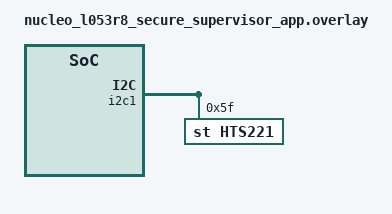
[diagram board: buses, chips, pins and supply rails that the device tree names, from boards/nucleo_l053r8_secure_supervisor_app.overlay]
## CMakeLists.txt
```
cmake_minimum_required(VERSION 3.20.0)

if (BOARD STREQUAL "nucleo_l053r8")
  set(DTC_OVERLAY_FILE
      ${CMAKE_CURRENT_SOURCE_DIR}/boards/nucleo_l053r8_secure_supervisor.overlay
      ${CMAKE_CURRENT_SOURCE_DIR}/boards/nucleo_l053r8_secure_supervisor_app.overlay)
endif()

find_package(Zephyr REQUIRED HINTS $ENV{ZEPHYR_BASE})
project(zephyr_secure_supervisor)

# Add app sources explicitly
target_sources(app PRIVATE
  src/simple_aes.c
  $<$<BOOL:${CONFIG_APP_CRYPTO_BACKEND_CURVE25519}>:${CMAKE_CURRENT_SOURCE_DIR}/src/curve25519_ref10.c>
  src/app_crypto.c
  src/main.c
  src/sensor_hts221.c
  src/supervisor.c
  src/recovery.c
  src/persist_state.c
  src/uart_commands.c
  src/watchdog_ctrl.c
)

# Allow #include "supervisor.h" etc without full path (autocomplete)
target_include_directories(app PRIVATE ${CMAKE_CURRENT_SOURCE_DIR}/src)
zephyr_library_include_directories(${CMAKE_CURRENT_SOURCE_DIR})
```

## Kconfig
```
menu "zephyr-secure-supervisor Kconfig application"

config APP_WATCHDOG_BOOT_TIMEOUT_MS
	int "Boot watchdog timeout (ms)"
	default 8000
	range 100 60000
	help
	  Initial watchdog timeout applied during system startup. Use a large
	  value to cover expensive init sequences.

config APP_WATCHDOG_STEADY_TIMEOUT_MS
	int "Steady-state watchdog timeout (ms)"
	default 2000
	range 100 60000
	help
	  Watchdog timeout that the supervisor applies once the system has
	  reached its steady state.

config APP_WATCHDOG_RETUNE_DELAY_MS
	int "Delay before watchdog retune (ms)"
	default 5000
	range 0 60000
	help
	  Duration after boot before the watchdog is tightened to the
	  steady-state timeout.

config APP_RESET_WATCHDOG_THRESHOLD
	int "Watchdog reset storm threshold"
	default 3
	range 1 20
	help
	  Number of consecutive watchdog resets that triggers fallback mode.

config APP_HEALTH_LED_STALE_MS
	int "Visual heartbeat stale threshold (ms)"
	default 1500
	range 100 10000
	help
	  Maximum allowed age of the visible heartbeat thread before it is
	  considered stale.

config APP_HEALTH_SYS_STALE_MS
	int "System heartbeat stale threshold (ms)"
	default 1500
	range 100 10000
	help
	  Maximum allowed age of the system heartbeat before it is
	  considered stale.

config APP_ENABLE_UART_COMMANDS
	bool "Enable UART command handler"
	default y
	help
	  Enable a minimal UART command parser for runtime configuration of
	  watchdog parameters. Disable if RAM usage is too tight.

config APP_PROVISION_GDB_HELPERS
	bool "Enable GDB provisioning helpers"
	default y if APP_PROVISION_BUILD
	help
	  Keeps tiny global buffers in the image so external tools (for example,
	  scripted GDB sessions) can copy Curve25519 material into RAM and call
	  the persistence helpers directly. Disable this outside provisioning
	  builds to squeeze out a handful of bytes of SRAM/flash.

config APP_PROVISION_BUILD
	bool "Provisioning build (UART CLI focus)"
	default n
	help
	  Select this when building a temporary provisioning image. The build
	  trims non-essential workloads (sensor thread, heartbeat cadence) and upsizes
	  the UART command stack so the Curve25519 provisioning command can run
	  safely within 8 KB SRAM. Keep this set to 'n' for production images.

config APP_SAFE_MODE_REBOOT_DELAY_MS
	int "Safe-mode auto reboot delay (ms)"
	default 60000
	range 0 300000
	help
	  When fallback (safe) mode is entered, schedule an automatic warm
	  reboot after this many milliseconds. Set to 0 to keep the system in
	  safe mode indefinitely.

config APP_SENSOR_THREAD_STACK_SIZE
	int "HTS221 sensor thread stack size (bytes)"
	default 704
	range 256 4096
	help
	  Stack allocation used by the dedicated HTS221 polling thread.

config APP_SUPERVISOR_THREAD_STACK_SIZE
	int "Supervisor thread stack size (bytes)"
	default 672
	range 256 4096
	help
	  Controls the stack budget for the watchdog supervisor.

config APP_RECOVERY_THREAD_STACK_SIZE
	int "Recovery thread stack size (bytes)"
	default 512
	range 256 4096
	help
	  Stack allocated for the recovery worker thread that handles safe-mode
	  reboot scheduling.

config APP_SENSOR_SAMPLE_INTERVAL_MS
	int "HTS221 sample interval (ms)"
	default 2000
	range 100 60000
	help
	  How often the HTS221 sensor thread fetches temperature/humidity
	  data while the system is in the normal operating mode.

config APP_SENSOR_SAFE_MODE_INTERVAL_MS
	int "HTS221 sample interval while in safe mode (ms)"
	default 5000
	range 100 120000
	help
	  When fallback/safe mode is active, the sensor thread switches to
	  this slower interval to reduce load while still providing
	  telemetry. Set to the same value as the normal interval to keep a
	  constant cadence.

choice APP_CRYPTO_BACKEND
	prompt "Application crypto backend"
	default APP_CRYPTO_BACKEND_AES
	help
	  Select the asymmetric/symmetric helper that app_crypto.c should use.
	  AES-CTR remains the default, while Curve25519 is an experimental
	  placeholder that makes the code paths compile without shipping the
	  implementation yet.

config APP_CRYPTO_BACKEND_AES
	bool "AES-CTR helper"

config APP_CRYPTO_BACKEND_CURVE25519
	bool "Curve25519 (experimental, stub only)"

endchoice

config APP_USE_AES_ENCRYPTION
	bool "Enable AES encryption helper"
	default y
	help
	  Enables the application-level AES helper that seals telemetry and
	  persistent state before it is logged or transmitted. The Curve25519
	  backend reuses this helper after deriving the session key.

config APP_USE_CURVE25519
	bool "Enable Curve25519 helper (placeholder)"
	default y
	depends on APP_CRYPTO_BACKEND_CURVE25519
	help
	  Builds the Curve25519/X25519 app crypto shim. Provide static secret +
	  peer public keys via the configs below or wire a persistence flow.

config APP_CURVE25519_STATIC_SECRET_HEX
	string "Curve25519 private scalar (hex)"
	default "77076D0A7318A57D3C16C17251B26645DF4C2F87EBC0992AB177FBA51DB92C2A"
	depends on APP_USE_CURVE25519
	help
	  32-byte private scalar encoded as 64 hex characters. On first boot the
	  firmware copies this value into NVS, clamps it per RFC 7748, and uses it
	  to derive the shared secret. If left empty, a scalar is derived from the
	  hardware device ID. Provision tooling should overwrite this with
	  per-device values.

config APP_CURVE25519_STATIC_PEER_PUB_HEX
	string "Curve25519 peer public key (hex)"
	default "DE9EDB7D7B7DC1B4D35B61C2ECE435373F8343C85B78674DADFC7E146F882B4F"
	depends on APP_USE_CURVE25519
	help
	  32-byte peer public key encoded as 64 hex characters. The shared secret
	  derived from this key seeds the AES helper.

config APP_AES_STATIC_KEY_HEX
	string "Static AES key (hex)"
	default "00112233445566778899AABBCCDDEEFF00112233445566778899AABBCCDDEEFF"
	depends on APP_USE_AES_ENCRYPTION
	help
	  128/192/256-bit key encoded as a continuous hex string without
	  spaces. Replace this value in production with a key derived from a
	  secure provisioning flow.

config APP_AES_STATIC_IV_HEX
	string "IV seed (hex)"
	default "000102030405060708090A0B"
	depends on APP_USE_AES_ENCRYPTION
	help
	  96-bit initial IV that is mixed with a runtime counter when the RNG
	  is unavailable. Provide a 24-character hex string (12 bytes).

config APP_PROVISION_CMD_BUFFER
	int "Provisioning UART command buffer size"
	default 512
	depends on APP_ENABLE_UART_COMMANDS
	help
	  Size, in bytes, of the UART command line buffer during provisioning
	  builds. Increase this when sending large ASCII payloads (e.g., prov curve
	  commands) to avoid truncation.

config APP_PROVISION_CMD_STACK
	int "Provisioning UART command thread stack size"
	default 2048
	depends on APP_ENABLE_UART_COMMANDS
	help
	  Stack size, in bytes, for the UART command handler when provisioning
	  builds are enabled. Larger values help absorb complex parsing logic.

config APP_PROVISION_AUTO_PERSIST
	bool "Auto-persist Curve25519 keys on boot"
	default y
	depends on APP_PROVISION_BUILD && APP_CRYPTO_BACKEND_CURVE25519
	help
	  When enabled, the provisioning firmware decodes the build-time
	  CONFIG_APP_CURVE25519_STATIC_* hex strings and writes them into NVS
	  automatically on each boot. This provides a simple provisioning path
	  even when UART provisioning is unavailable.

endmenu

source "Kconfig.zephyr"
```

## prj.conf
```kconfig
# ==== Core stacks ====
# Previous stable main stack: CONFIG_MAIN_STACK_SIZE=1504
CONFIG_MAIN_STACK_SIZE=1536
# Previous stable ISR stack: CONFIG_ISR_STACK_SIZE=1024
CONFIG_ISR_STACK_SIZE=768
CONFIG_IDLE_STACK_SIZE=256

# ==== Storage / persistence ====
# Flash/NVS requires flash driver enabled explicitly on this part
CONFIG_FLASH=y
CONFIG_FLASH_PAGE_LAYOUT=y
CONFIG_FLASH_MAP=y
CONFIG_NVS=y

# ---- Console / Serial ----
# CONFIG_SYSTEM_WORKQUEUE_STACK_SIZE was 832/1280 in the stable build
CONFIG_CONSOLE=y
CONFIG_UART_CONSOLE=y
CONFIG_SERIAL=y
CONFIG_THREAD_NAME=y
# Restored workqueue stack to stable 1280 B after overflow
CONFIG_SYSTEM_WORKQUEUE_STACK_SIZE=1280
CONFIG_STACK_SENTINEL=y

# ---- Logging to UART (no printk routing) ----
CONFIG_LOG=y
CONFIG_LOG_BACKEND_UART=y
CONFIG_LOG_MODE_IMMEDIATE=y        # immediate = safest on tiny MCUs
CONFIG_LOG_DEFAULT_LEVEL=3

# Keep printk enabled if the board wants it, but don't route printk into LOG
CONFIG_LOG_PRINTK=n

# ---- Drivers ----
CONFIG_GPIO=y
CONFIG_HWINFO=y                    # for hwinfo_get_reset_cause()
CONFIG_I2C=y
CONFIG_I2C_STM32=y
CONFIG_SENSOR=y
CONFIG_HTS221=y

#our code will control wdg, not default setup
CONFIG_WDT_DISABLE_AT_BOOT=y
CONFIG_WATCHDOG=y

# ---- Fault dump (replace any FATAL_EXCEPTION_DUMP usage) ----
CONFIG_FAULT_DUMP=1              

# Enable reboot & system management
CONFIG_REBOOT=y

# Application tuning
CONFIG_APP_WATCHDOG_BOOT_TIMEOUT_MS=8000
CONFIG_APP_WATCHDOG_STEADY_TIMEOUT_MS=2000
CONFIG_APP_WATCHDOG_RETUNE_DELAY_MS=500
CONFIG_APP_RESET_WATCHDOG_THRESHOLD=3
CONFIG_APP_HEALTH_LED_STALE_MS=6500
CONFIG_APP_HEALTH_SYS_STALE_MS=6500
# Crypto backend selection (Curve25519 derives the AES session key)
# CONFIG_APP_CRYPTO_BACKEND_AES is not set
CONFIG_APP_CRYPTO_BACKEND_CURVE25519=y
CONFIG_APP_ENABLE_UART_COMMANDS=n
CONFIG_APP_SAFE_MODE_REBOOT_DELAY_MS=60000
# Previous stable sensor stack: CONFIG_APP_SENSOR_THREAD_STACK_SIZE=256
CONFIG_APP_SENSOR_THREAD_STACK_SIZE=256
# Previous stable supervisor stack: CONFIG_APP_SUPERVISOR_THREAD_STACK_SIZE=768
CONFIG_APP_SUPERVISOR_THREAD_STACK_SIZE=768
# Previous stable recovery stack: CONFIG_APP_RECOVERY_THREAD_STACK_SIZE=384
CONFIG_APP_RECOVERY_THREAD_STACK_SIZE=384
# AES helper stays enabled to seal telemetry with the derived curve key
CONFIG_APP_USE_AES_ENCRYPTION=y
CONFIG_APP_USE_CURVE25519=y
# Static Curve25519 material (replace in production)
CONFIG_APP_CURVE25519_STATIC_SECRET_HEX="77076D0A7318A57D3C16C17251B26645DF4C2F87EBC0992AB177FBA51DB92C2A"
CONFIG_APP_CURVE25519_STATIC_PEER_PUB_HEX="DE9EDB7D7B7DC1B4D35B61C2ECE435373F8343C85B78674DADFC7E146F882B4F"

# Thread configuration
CONFIG_THREAD_MONITOR=y
CONFIG_THREAD_STACK_INFO=y
# Analyzer disabled during curve prototype to reclaim ~768 B stack
# CONFIG_THREAD_ANALYZER is not set
# CONFIG_THREAD_ANALYZER_AUTO is not set

# Recovery + supervisor require event support
CONFIG_EVENTS=y
```

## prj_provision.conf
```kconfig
# Provisioning-only build overlay -----------------------------------------
#
# Goal: keep just enough functionality alive (watchdog + UART CLI) to push
# per-device Curve25519 material via the `prov curve …` command without
# blowing the 8 KB SRAM budget. Production builds must continue to use the
# default `prj.conf` without this overlay once provisioning is done.

# Tell the code that we're in provisioning mode (skip HTS221 thread, etc.)
CONFIG_APP_PROVISION_BUILD=y

# Enable the lightweight buffers that the GDB provisioning script pokes.
CONFIG_APP_PROVISION_GDB_HELPERS=y

# Force the UART CLI on – this thread drives the provisioning command.
CONFIG_APP_ENABLE_UART_COMMANDS=y

# Upsize the CLI stack / buffers and reclaim SRAM elsewhere.
CONFIG_MAIN_STACK_SIZE=1856
CONFIG_ISR_STACK_SIZE=640
CONFIG_IDLE_STACK_SIZE=192
CONFIG_SYSTEM_WORKQUEUE_STACK_SIZE=960
CONFIG_APP_SUPERVISOR_THREAD_STACK_SIZE=832
CONFIG_APP_RECOVERY_THREAD_STACK_SIZE=448
CONFIG_APP_PROVISION_CMD_BUFFER=768
CONFIG_APP_PROVISION_CMD_STACK=1408

# Thread metadata is nice in production, but we disable it here to save RAM.
CONFIG_THREAD_MONITOR=n

# Logging stays enabled (we need CLI feedback), keep info-level banners visible.
CONFIG_LOG_DEFAULT_LEVEL=3
CONFIG_APP_CURVE25519_STATIC_SECRET_HEX="f0ed94212d52773938064558aab7d53fcf56f1680399281f9996dc2b7cfe284f"
CONFIG_APP_CURVE25519_STATIC_PEER_PUB_HEX="3dbced551515fba03d03007dd069a7331187bd5ec83db25d4c70c8412a783dd3"
```

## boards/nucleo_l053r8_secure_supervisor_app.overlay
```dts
&code_partition {
	/delete-property/ zephyr,code-partition;
};

/ {
	chosen {
		zephyr,code-partition = &code_partition;
	};
};

&i2c1 {
	hts221: hts221@5f {
		compatible = "st,hts221";
		reg = <0x5f>;
		status = "okay";
	};
};
```

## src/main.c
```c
/* main.c - NUCLEO-L053R8: Watchdog + Supervisors */
#include <zephyr/drivers/hwinfo.h>
#include <zephyr/kernel.h>
#include <zephyr/logging/log.h>
#include <zephyr/sys/util.h>
#include <stdint.h>
#include <string.h>
#include <ctype.h>

#include "app_crypto.h"
#include "log_utils.h"
#include "persist_state.h"
#include "recovery.h"
#include "sensor_hts221.h"
#include "supervisor.h"
#include "uart_commands.h"
#include "watchdog_ctrl.h"

LOG_MODULE_REGISTER(app, LOG_LEVEL_INF);

#if IS_ENABLED(CONFIG_APP_PROVISION_AUTO_PERSIST)
static int hex_digit_value(char c)
{
	if (c >= '0' && c <= '9') {
		return c - '0';
	}
	if (c >= 'a' && c <= 'f') {
		return 10 + (c - 'a');
	}
	if (c >= 'A' && c <= 'F') {
		return 10 + (c - 'A');
	}
	return -1;
}

static int decode_hex_key(const char *hex, uint8_t out[CURVE25519_KEY_SIZE])
{
	if (hex == NULL) {
		return -EINVAL;
	}

	size_t len = strlen(hex);
	if (len != CURVE25519_KEY_SIZE * 2U) {
		return -EINVAL;
	}

	for (size_t i = 0U; i < CURVE25519_KEY_SIZE; i++) {
		char hi = hex[i * 2U];
		char lo = hex[i * 2U + 1U];
		int hi_val = hex_digit_value(hi);
		int lo_val = hex_digit_value(lo);
		if (hi_val < 0 || lo_val < 0) {
			return -EINVAL;
		}
		out[i] = (uint8_t)((hi_val << 4) | lo_val);
	}

	return 0;
}

static void autoload_curve_keys(void)
{
	uint8_t buf[CURVE25519_KEY_SIZE];
	bool secret_written = false;
	bool peer_written = false;

	if (CONFIG_APP_CURVE25519_STATIC_SECRET_HEX[0] != '\0' &&
	    decode_hex_key(CONFIG_APP_CURVE25519_STATIC_SECRET_HEX, buf) == 0) {
		if (persist_state_curve25519_set_secret(buf) == 0) {
			secret_written = true;
		}
	}

	if (CONFIG_APP_CURVE25519_STATIC_PEER_PUB_HEX[0] != '\0' &&
	    decode_hex_key(CONFIG_APP_CURVE25519_STATIC_PEER_PUB_HEX, buf) == 0) {
		if (persist_state_curve25519_set_peer(buf) == 0) {
			peer_written = true;
		}
	}

	LOG_INF("Provision auto-persist secret=%s peer=%s",
		secret_written ? "ok" : "skipped",
		peer_written ? "ok" : "skipped");
}
#endif

/* Optional reset cause printout */
static uint32_t log_reset_cause(void)
{
	uint32_t cause = 0;
	if (hwinfo_get_reset_cause(&cause) == 0) {
		if (cause & RESET_WATCHDOG) LOG_WRN("Reset cause: WATCHDOG");
		if (cause & RESET_SOFTWARE) LOG_WRN("Reset cause: SOFTWARE");
		if (cause & RESET_POR)      LOG_WRN("Reset cause: POWER-ON");
		hwinfo_clear_reset_cause();
	}
	return cause;
}

void main(void)
{
	k_thread_name_set(k_current_get(), "main");
	LOG_EVT_SIMPLE(INF, "APP", "START");

	int ret = app_crypto_init();
	if (ret) {
		LOG_ERR("AES helper init failed: %d", ret);
	}

	ret = persist_state_init();
	if (ret) {
		LOG_ERR("Persistent state init failed: %d", ret);
	}

#if IS_ENABLED(CONFIG_APP_PROVISION_AUTO_PERSIST)
	autoload_curve_keys();
#endif

	uint32_t reset_cause = log_reset_cause();
	bool watchdog_reset = (reset_cause & RESET_WATCHDOG) != 0U;
	persist_state_record_boot(watchdog_reset);

	uint32_t consecutive = persist_state_get_consecutive_watchdog();
	if (consecutive != 0U) {
		LOG_EVT(WRN, "WATCHDOG", "RESET_HISTORY",
			"consecutive=%u,total=%u", consecutive, persist_state_get_total_watchdog());
	}

	bool safe_mode_active = persist_state_is_fallback_active();
	if (safe_mode_active) {
		LOG_EVT_SIMPLE(ERR, "SAFE_MODE", "ENTERED");
		persist_state_clear_watchdog_counter();
		LOG_EVT_SIMPLE(INF, "WATCHDOG", "COUNTER_CLEARED");
	}

    if (!IS_ENABLED(CONFIG_APP_PROVISION_BUILD)) {
        recovery_start();
        recovery_schedule_safe_mode_reboot(
            safe_mode_active ? CONFIG_APP_SAFE_MODE_REBOOT_DELAY_MS : 0U);

        uint32_t boot_timeout_ms = CONFIG_APP_WATCHDOG_BOOT_TIMEOUT_MS;
        uint32_t steady_timeout_ms = persist_state_get_watchdog_override();
        if (steady_timeout_ms == 0U) {
            steady_timeout_ms = CONFIG_APP_WATCHDOG_STEADY_TIMEOUT_MS;
        }
        uint32_t retune_delay_ms = CONFIG_APP_WATCHDOG_RETUNE_DELAY_MS;

        if (safe_mode_active) {
            steady_timeout_ms = MAX(steady_timeout_ms, boot_timeout_ms);
            retune_delay_ms = 0U;
        }

        ret = watchdog_ctrl_init(boot_timeout_ms);
        if (ret) {
            LOG_EVT(ERR, "WATCHDOG", "INIT_FAIL", "rc=%d", ret);
            LOG_EVT_SIMPLE(ERR, "RECOVERY", "WATCHDOG_INIT_FAIL");
            recovery_request(RECOVERY_REASON_WATCHDOG_INIT_FAIL);
            return;
        }

        LOG_EVT(INF, "WATCHDOG", "CONFIGURED",
            "boot_ms=%u,steady_ms=%u,retune_delay_ms=%u", boot_timeout_ms,
            steady_timeout_ms, retune_delay_ms);
        if (safe_mode_active) {
            LOG_EVT_SIMPLE(WRN, "WATCHDOG", "RETUNE_DISABLED_SAFE_MODE");
        }

        supervisor_start(steady_timeout_ms, retune_delay_ms, true);
    } else {
        LOG_INF("Provisioning build: watchdog/supervisor disabled");
    }

#if !IS_ENABLED(CONFIG_APP_PROVISION_BUILD)
	ret = sensor_hts221_start(safe_mode_active);
	if (ret) {
		LOG_EVT(ERR, "SENSOR", "HTS221_INIT_FAIL", "rc=%d", ret);
	}
#else
	LOG_INF("Skipping HTS221 sensor thread while provisioning build is enabled");
#endif

	if (IS_ENABLED(CONFIG_APP_ENABLE_UART_COMMANDS)) {
		uart_commands_start(safe_mode_active);
	}

	/* small delay to let logging flush before threads settle */
	k_msleep(120);

	LOG_EVT_SIMPLE(INF, "APP", "READY");

}
```

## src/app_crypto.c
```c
#include "app_crypto.h"

#include <errno.h>
#include <inttypes.h>
#include <string.h>

#include <zephyr/kernel.h>
#include <zephyr/logging/log.h>
#include <zephyr/sys/atomic.h>
#include <zephyr/sys/crc.h>
#include <zephyr/sys/util.h>

#include "curve25519_ref10.h"
#include "log_utils.h"
#include "persist_state.h"
#include "simple_aes.h"
#include "safe_memory.h"

LOG_MODULE_REGISTER(app_crypto, LOG_LEVEL_INF);

#define APP_CRYPTO_MAX_KEY_BYTES 32U
#define APP_CRYPTO_MAX_HEX_CHARS (APP_CRYPTO_MAX_KEY_BYTES * 2U)

static uint8_t key_buf[APP_CRYPTO_MAX_KEY_BYTES];
static size_t key_len;
static uint8_t iv_seed[APP_CRYPTO_IV_LEN];
static bool crypto_ready;
static atomic_t iv_counter = ATOMIC_INIT(0);
static atomic_t prng_state = ATOMIC_INIT(0x6d5a56a1);
static struct simple_aes_ctx aes_ctx;
static uint8_t session_mac_key[16];
static uint32_t session_counter;
static uint32_t session_salt;

static enum app_crypto_backend_type active_backend = APP_CRYPTO_BACKEND_TYPE_NONE;

static int hex_value(char c)
{
	if (c >= '0' && c <= '9') {
		return c - '0';
	}
	if (c >= 'a' && c <= 'f') {
		return 10 + (c - 'a');
	}
	if (c >= 'A' && c <= 'F') {
		return 10 + (c - 'A');
	}
	return -1;
}

static int parse_hex_string(const char *hex, uint8_t *out, size_t max_len)
{
	size_t len = safe_strlen(hex, APP_CRYPTO_MAX_HEX_CHARS + 1U);

	if ((len % 2U) != 0U) {
		return -EINVAL;
	}

	size_t bytes = len / 2U;

	if (bytes == 0U || bytes > max_len) {
		return -EOVERFLOW;
	}

	for (size_t i = 0U; i < bytes; i++) {
		int hi = hex_value(hex[i * 2U]);
		int lo = hex_value(hex[i * 2U + 1U]);

		if (hi < 0 || lo < 0) {
			return -EINVAL;
		}

		out[i] = (uint8_t)((hi << 4) | lo);
	}

	return (int)bytes;
}

static uint32_t next_pseudo_entropy(void)
{
	uint32_t current;
	uint32_t next;

	do {
		current = (uint32_t)atomic_get(&prng_state);
		next = current * 1664525U + 1013904223U;
	} while (atomic_cas(&prng_state, current, next) == false);

	/* xorshift mix */
	next ^= next << 13;
	next ^= next >> 17;
	next ^= next << 5;

	return next;
}

static void generate_iv(uint8_t *iv_out)
{
	for (size_t offset = 0U; offset < APP_CRYPTO_IV_LEN; offset += sizeof(uint32_t)) {
		uint32_t rnd = next_pseudo_entropy();
		size_t chunk = sizeof(uint32_t);

		if (chunk > (APP_CRYPTO_IV_LEN - offset)) {
			chunk = APP_CRYPTO_IV_LEN - offset;
		}

			safe_memcpy(&iv_out[offset], APP_CRYPTO_IV_LEN - offset, &rnd, chunk);
	}

	for (size_t i = 0U; i < APP_CRYPTO_IV_LEN; i++) {
		iv_out[i] ^= iv_seed[i];
	}

	uint32_t ctr = (uint32_t)atomic_inc(&iv_counter);
	for (size_t i = 0U; i < sizeof(ctr); i++) {
		size_t idx = APP_CRYPTO_IV_LEN - 1U - i;
		iv_out[idx] ^= (uint8_t)((ctr >> (i * 8U)) & 0xFF);
	}
}

static void increment_counter(uint8_t *counter)
{
	for (int i = APP_CRYPTO_AES_BLOCK_BYTES - 1; i >= (int)APP_CRYPTO_IV_LEN; i--) {
		counter[i]++;
		if (counter[i] != 0U) {
			break;
		}
	}
}

static void ctr_process(const uint8_t *input, uint8_t *output, size_t len,
			const uint8_t iv[APP_CRYPTO_IV_LEN])
{
	uint8_t counter[APP_CRYPTO_AES_BLOCK_BYTES] = {0};
	uint8_t stream[APP_CRYPTO_AES_BLOCK_BYTES];

	safe_memcpy(counter, sizeof(counter), iv, APP_CRYPTO_IV_LEN);

	while (len > 0U) {
		simple_aes_encrypt_block(&aes_ctx, counter, stream);

		size_t chunk = MIN(len, (size_t)APP_CRYPTO_AES_BLOCK_BYTES);
		for (size_t i = 0U; i < chunk; i++) {
			output[i] = input[i] ^ stream[i];
		}

		input += chunk;
		output += chunk;
		len -= chunk;
		increment_counter(counter);
	}
}

static uint32_t fallback_session_salt(void)
{
	uint32_t seed = next_pseudo_entropy();
	if (seed == 0U) {
		seed = (uint32_t)k_cycle_get_32();
	}
	return seed;
}

static void derive_session_material(const uint8_t *shared, size_t shared_len)
{
	session_counter = persist_state_next_session_counter();
	session_salt = fallback_session_salt();

	for (size_t i = 0U; i < APP_CRYPTO_MAX_KEY_BYTES; i++) {
		uint8_t ctr = (uint8_t)((session_counter >> ((i % 4U) * 8U)) & 0xFFU);
		uint8_t saltb = (uint8_t)((session_salt >> (((i + 1U) % 4U) * 8U)) & 0xFFU);
		key_buf[i] = shared[i % shared_len] ^ ctr ^ saltb;
	}

	for (size_t i = 0U; i < sizeof(session_mac_key); i++) {
		uint8_t ctr = (uint8_t)((session_counter >> (((i + 2U) % 4U) * 8U)) & 0xFFU);
		uint8_t saltb = (uint8_t)((session_salt >> (((i + 3U) % 4U) * 8U)) & 0xFFU);
		session_mac_key[i] = shared[(i + 8U) % shared_len] ^ ctr ^ saltb;
	}

	LOG_EVT(INF, "PQC", "SESSION", "counter=%" PRIu32 ",salt=0x%08X",
		session_counter, session_salt);
}

bool app_crypto_is_enabled(void)
{
	return crypto_ready && (active_backend != APP_CRYPTO_BACKEND_TYPE_NONE);
}

enum app_crypto_backend_type app_crypto_get_backend(void)
{
	return active_backend;
}

uint32_t app_crypto_get_session_counter(void)
{
	return session_counter;
}

uint32_t app_crypto_get_session_salt(void)
{
	return session_salt;
}

int app_crypto_init(void)
{
	int rc = parse_hex_string(CONFIG_APP_AES_STATIC_IV_HEX,
				  iv_seed, sizeof(iv_seed));
	if (rc < 0 || (size_t)rc != APP_CRYPTO_IV_LEN) {
		LOG_ERR("Invalid IV seed (expected %u bytes)", APP_CRYPTO_IV_LEN);
		return rc < 0 ? rc : -EINVAL;
	}

#if IS_ENABLED(CONFIG_APP_CRYPTO_BACKEND_CURVE25519)
	active_backend = APP_CRYPTO_BACKEND_TYPE_CURVE25519;
	uint8_t secret[CURVE25519_KEY_SIZE];
	uint8_t peer_pub[CURVE25519_KEY_SIZE];
	uint8_t shared[CURVE25519_KEY_SIZE];

	rc = persist_state_curve25519_get_secret(secret);
	if (rc < 0) {
		LOG_ERR("Failed to load Curve25519 scalar: %d", rc);
		return rc;
	}
	curve25519_ref10_clamp_scalar(secret);

	int peer_rc = persist_state_curve25519_get_peer(peer_pub);
	if (peer_rc != 0) {
		rc = parse_hex_string(CONFIG_APP_CURVE25519_STATIC_PEER_PUB_HEX,
				      peer_pub, sizeof(peer_pub));
		if (rc < 0 || (size_t)rc != CURVE25519_KEY_SIZE) {
			LOG_ERR("Invalid Curve25519 peer public key");
			return rc < 0 ? rc : -EINVAL;
		}
	} else {
		LOG_INF("Curve25519 peer public key loaded from provisioning storage");
	}

	rc = curve25519_ref10_scalarmult(shared, secret, peer_pub);
	if (rc != 0) {
		LOG_ERR("Curve25519 shared-secret derivation failed: %d", rc);
		return rc;
	}

	key_len = CURVE25519_KEY_SIZE;
	derive_session_material(shared, CURVE25519_KEY_SIZE);

	uint8_t local_pub[CURVE25519_KEY_SIZE];
	curve25519_ref10_scalarmult_base(local_pub, secret);
	LOG_INF("Curve25519 key ready (local_pub=%02X%02X%02X%02X..., peer fixed)",
		local_pub[0], local_pub[1], local_pub[2], local_pub[3]);
	LOG_DBG("Curve25519 shared secret prefix=%02X%02X%02X%02X",
		shared[0], shared[1], shared[2], shared[3]);
	LOG_INF("Curve25519 backend active (shared secret drives AES keys)");

#elif IS_ENABLED(CONFIG_APP_USE_AES_ENCRYPTION)
	active_backend = APP_CRYPTO_BACKEND_TYPE_AES;
	rc = parse_hex_string(CONFIG_APP_AES_STATIC_KEY_HEX,
			      key_buf, sizeof(key_buf));
	if (rc < 0) {
		LOG_ERR("Invalid AES key hex string: %d", rc);
		return rc;
	}

	key_len = (size_t)rc;
	if (!(key_len == 16U || key_len == 24U || key_len == 32U)) {
		LOG_ERR("Unsupported AES key length: %zu", key_len);
		return -EINVAL;
	}
	session_counter = 0U;
	session_salt = 0U;
	memset(session_mac_key, 0, sizeof(session_mac_key));
	LOG_INF("AES-only backend active (static key from config)");
#else
	active_backend = APP_CRYPTO_BACKEND_TYPE_NONE;
	crypto_ready = false;
	LOG_INF("Application crypto disabled (no backend selected)");
	return 0;
#endif

	rc = simple_aes_setkey_enc(&aes_ctx, key_buf, key_len);
	if (rc != 0) {
		LOG_ERR("AES key setup failed");
		return -EINVAL;
	}

	crypto_ready = true;
	LOG_INF("AES helper initialized (key_len=%zu, backend=%s)", key_len,
		active_backend == APP_CRYPTO_BACKEND_TYPE_CURVE25519 ? "curve25519" : "aes");
	return 0;
}

int app_crypto_encrypt_buffer(const uint8_t *input, size_t input_len,
			      uint8_t *cipher_out, size_t cipher_capacity,
			      size_t *cipher_len, uint8_t iv_out[APP_CRYPTO_IV_LEN])
{
	if (!app_crypto_is_enabled()) {
		return -EACCES;
	}

	if (input_len == 0U) {
		return -EINVAL;
	}

	if (cipher_capacity < input_len) {
		return -ENOSPC;
	}

	uint8_t iv_tmp[APP_CRYPTO_IV_LEN];

	generate_iv(iv_tmp);

	ctr_process(input, cipher_out, input_len, iv_tmp);
	safe_memcpy(iv_out, APP_CRYPTO_IV_LEN, iv_tmp, APP_CRYPTO_IV_LEN);
	if (cipher_len != NULL) {
		*cipher_len = input_len;
	}

	return 0;
}

int app_crypto_decrypt_buffer(const uint8_t *cipher, size_t cipher_len,
			      const uint8_t iv[APP_CRYPTO_IV_LEN],
			      uint8_t *plain_out, size_t plain_capacity,
			      size_t *plain_len)
{
	if (!app_crypto_is_enabled()) {
		return -EACCES;
	}

	if (cipher_len == 0U) {
		return -EINVAL;
	}

	if (plain_capacity < cipher_len) {
		return -ENOSPC;
	}

	ctr_process(cipher, plain_out, cipher_len, iv);

	if (plain_len != NULL) {
		*plain_len = cipher_len;
	}

	return 0;
}

int app_crypto_bytes_to_hex(const uint8_t *src, size_t src_len,
			    char *dst, size_t dst_len)
{
	if (dst_len < (src_len * 2U + 1U)) {
		return -ENOSPC;
	}

	static const char hex_chars[] = "0123456789ABCDEF";

	for (size_t i = 0U; i < src_len; i++) {
		dst[i * 2U] = hex_chars[(src[i] >> 4) & 0xF];
		dst[i * 2U + 1U] = hex_chars[src[i] & 0xF];
	}

	dst[src_len * 2U] = '\0';
	return 0;
}

uint32_t app_crypto_compute_sample_mac(const uint8_t iv[APP_CRYPTO_IV_LEN],
				       const uint8_t *cipher, size_t cipher_len)
{
	if (active_backend != APP_CRYPTO_BACKEND_TYPE_CURVE25519 || !crypto_ready) {
		return 0U;
	}

	uint32_t crc = crc32_ieee(session_mac_key, sizeof(session_mac_key));
	crc = crc32_ieee_update(crc, iv, APP_CRYPTO_IV_LEN);
	crc = crc32_ieee_update(crc, cipher, cipher_len);
	crc = crc32_ieee_update(crc, (uint8_t *)&session_counter, sizeof(session_counter));
	crc ^= session_salt;
	return crc;
}
```

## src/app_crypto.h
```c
#ifndef APP_CRYPTO_H
#define APP_CRYPTO_H

#include <stdbool.h>
#include <stddef.h>
#include <stdint.h>

#define APP_CRYPTO_CTR_LEN_BITS 32U
#define APP_CRYPTO_AES_BLOCK_BYTES 16U
#define APP_CRYPTO_IV_LEN (APP_CRYPTO_AES_BLOCK_BYTES - (APP_CRYPTO_CTR_LEN_BITS / 8U))

enum app_crypto_backend_type {
	APP_CRYPTO_BACKEND_TYPE_NONE = 0,
	APP_CRYPTO_BACKEND_TYPE_AES,
	APP_CRYPTO_BACKEND_TYPE_CURVE25519,
};

int app_crypto_init(void);
bool app_crypto_is_enabled(void);
enum app_crypto_backend_type app_crypto_get_backend(void);
uint32_t app_crypto_get_session_counter(void);
uint32_t app_crypto_get_session_salt(void);

int app_crypto_encrypt_buffer(const uint8_t *input, size_t input_len,
			      uint8_t *cipher_out, size_t cipher_capacity,
			      size_t *cipher_len, uint8_t iv_out[APP_CRYPTO_IV_LEN]);

int app_crypto_decrypt_buffer(const uint8_t *cipher, size_t cipher_len,
			      const uint8_t iv[APP_CRYPTO_IV_LEN],
			      uint8_t *plain_out, size_t plain_capacity,
			      size_t *plain_len);

int app_crypto_bytes_to_hex(const uint8_t *src, size_t src_len,
			    char *dst, size_t dst_len);

uint32_t app_crypto_compute_sample_mac(const uint8_t iv[APP_CRYPTO_IV_LEN],
				       const uint8_t *cipher, size_t cipher_len);

#endif /* APP_CRYPTO_H */
```

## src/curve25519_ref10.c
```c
#include "curve25519_ref10.h"

/*
 * Derived from the public-domain curve25519-donna / TweetNaCl reference
 * implementation (D. J. Bernstein, Adam Langley, et al.). Only the small
 * subset required for X25519 scalar multiplication is kept here so the
 * firmware can run without an external crypto library.
 */

#include <string.h>

/* Field operations follow the same layout as the ref10 implementation. */
typedef int32_t fe[10];

static void fe_0(fe h)
{
	memset(h, 0, sizeof(fe));
}

static void fe_1(fe h)
{
	fe_0(h);
	h[0] = 1;
}

static void fe_copy(fe h, const fe f)
{
	for (int i = 0; i < 10; i++) {
		h[i] = f[i];
	}
}

static void fe_add(fe h, const fe f, const fe g)
{
	for (int i = 0; i < 10; i++) {
		h[i] = f[i] + g[i];
	}
}

static void fe_sub(fe h, const fe f, const fe g)
{
	for (int i = 0; i < 10; i++) {
		h[i] = f[i] - g[i];
	}
}

static void fe_mul(fe h, const fe f, const fe g);
static void fe_sq(fe h, const fe f)
{
	fe_mul(h, f, f);
}

static void fe_mul(fe h, const fe f, const fe g)
{
	int64_t f0 = f[0];
	int64_t f1 = f[1];
	int64_t f2 = f[2];
	int64_t f3 = f[3];
	int64_t f4 = f[4];
	int64_t f5 = f[5];
	int64_t f6 = f[6];
	int64_t f7 = f[7];
	int64_t f8 = f[8];
	int64_t f9 = f[9];

	int64_t g0 = g[0];
	int64_t g1 = g[1];
	int64_t g2 = g[2];
	int64_t g3 = g[3];
	int64_t g4 = g[4];
	int64_t g5 = g[5];
	int64_t g6 = g[6];
	int64_t g7 = g[7];
	int64_t g8 = g[8];
	int64_t g9 = g[9];

	int64_t g1_19 = 19 * g1;
	int64_t g2_19 = 19 * g2;
	int64_t g3_19 = 19 * g3;
	int64_t g4_19 = 19 * g4;
	int64_t g5_19 = 19 * g5;
	int64_t g6_19 = 19 * g6;
	int64_t g7_19 = 19 * g7;
	int64_t g8_19 = 19 * g8;
	int64_t g9_19 = 19 * g9;

	int64_t f1_2 = 2 * f1;
	int64_t f3_2 = 2 * f3;
	int64_t f5_2 = 2 * f5;
	int64_t f7_2 = 2 * f7;
	int64_t f9_2 = 2 * f9;

	int64_t h0 = f0 * g0 + f1_2 * g9_19 + f2 * g8_19 + f3_2 * g7_19 + f4 * g6_19 +
		     f5_2 * g5_19 + f6 * g4_19 + f7_2 * g3_19 + f8 * g2_19 + f9_2 * g1_19;
	int64_t h1 = f0 * g1 + f1 * g0 + f2 * g9_19 + f3 * g8_19 + f4 * g7_19 + f5 * g6_19 +
		     f6 * g5_19 + f7 * g4_19 + f8 * g3_19 + f9 * g2_19;
	int64_t h2 = f0 * g2 + f1_2 * g1 + f2 * g0 + f3_2 * g9_19 + f4 * g8_19 +
		     f5_2 * g7_19 + f6 * g6_19 + f7_2 * g5_19 + f8 * g4_19 + f9_2 * g3_19;
	int64_t h3 = f0 * g3 + f1 * g2 + f2 * g1 + f3 * g0 + f4 * g9_19 + f5 * g8_19 +
		     f6 * g7_19 + f7 * g6_19 + f8 * g5_19 + f9 * g4_19;
	int64_t h4 = f0 * g4 + f1_2 * g3 + f2 * g2 + f3_2 * g1 + f4 * g0 + f5_2 * g9_19 +
		     f6 * g8_19 + f7_2 * g7_19 + f8 * g6_19 + f9_2 * g5_19;
	int64_t h5 = f0 * g5 + f1 * g4 + f2 * g3 + f3 * g2 + f4 * g1 + f5 * g0 +
		     f6 * g9_19 + f7 * g8_19 + f8 * g7_19 + f9 * g6_19;
	int64_t h6 = f0 * g6 + f1_2 * g5 + f2 * g4 + f3_2 * g3 + f4 * g2 + f5_2 * g1 +
		     f6 * g0 + f7_2 * g9_19 + f8 * g8_19 + f9_2 * g7_19;
	int64_t h7 = f0 * g7 + f1 * g6 + f2 * g5 + f3 * g4 + f4 * g3 + f5 * g2 +
		     f6 * g1 + f7 * g0 + f8 * g9_19 + f9 * g8_19;
	int64_t h8 = f0 * g8 + f1_2 * g7 + f2 * g6 + f3_2 * g5 + f4 * g4 + f5_2 * g3 +
		     f6 * g2 + f7_2 * g1 + f8 * g0 + f9_2 * g9_19;
	int64_t h9 = f0 * g9 + f1 * g8 + f2 * g7 + f3 * g6 + f4 * g5 + f5 * g4 +
		     f6 * g3 + f7 * g2 + f8 * g1 + f9 * g0;

	int64_t carry0 = (h0 + (int64_t)(1 << 25)) >> 26;
	h1 += carry0;
	h0 -= carry0 << 26;
	int64_t carry4 = (h4 + (int64_t)(1 << 25)) >> 26;
	h5 += carry4;
	h4 -= carry4 << 26;
	int64_t carry1 = (h1 + (int64_t)(1 << 24)) >> 25;
	h2 += carry1;
	h1 -= carry1 << 25;
	int64_t carry5 = (h5 + (int64_t)(1 << 24)) >> 25;
	h6 += carry5;
	h5 -= carry5 << 25;
	int64_t carry2 = (h2 + (int64_t)(1 << 25)) >> 26;
	h3 += carry2;
	h2 -= carry2 << 26;
	int64_t carry6 = (h6 + (int64_t)(1 << 25)) >> 26;
	h7 += carry6;
	h6 -= carry6 << 26;
	int64_t carry3 = (h3 + (int64_t)(1 << 24)) >> 25;
	h4 += carry3;
	h3 -= carry3 << 25;
	int64_t carry7 = (h7 + (int64_t)(1 << 24)) >> 25;
	h8 += carry7;
	h7 -= carry7 << 25;
	carry4 = (h4 + (int64_t)(1 << 25)) >> 26;
	h5 += carry4;
	h4 -= carry4 << 26;
	int64_t carry8 = (h8 + (int64_t)(1 << 25)) >> 26;
	h9 += carry8;
	h8 -= carry8 << 26;
	int64_t carry9 = (h9 + (int64_t)(1 << 24)) >> 25;
	h0 += carry9 * 19;
	h9 -= carry9 << 25;
	carry0 = (h0 + (int64_t)(1 << 25)) >> 26;
	h1 += carry0;
	h0 -= carry0 << 26;

	h[0] = (int32_t)h0;
	h[1] = (int32_t)h1;
	h[2] = (int32_t)h2;
	h[3] = (int32_t)h3;
	h[4] = (int32_t)h4;
	h[5] = (int32_t)h5;
	h[6] = (int32_t)h6;
	h[7] = (int32_t)h7;
	h[8] = (int32_t)h8;
	h[9] = (int32_t)h9;
}

static void fe_mul121666(fe h, const fe f)
{
	for (int i = 0; i < 10; i++) {
		h[i] = f[i] * 121666;
	}
}

static void fe_invert(fe out, const fe z)
{
	fe t0;
	fe t1;
	fe t2;
	fe t3;

	fe_sq(t0, z);
	fe_sq(t1, t0);
	fe_sq(t1, t1);
	fe_mul(t1, z, t1);
	fe_mul(t0, t0, t1);
	fe_sq(t2, t0);
	fe_mul(t1, t1, t2);
	fe_sq(t2, t1);
	for (int i = 1; i < 5; i++) {
		fe_sq(t2, t2);
	}
	fe_mul(t1, t2, t1);
	fe_sq(t2, t1);
	for (int i = 1; i < 10; i++) {
		fe_sq(t2, t2);
	}
	fe_mul(t2, t2, t1);
	fe_sq(t3, t2);
	for (int i = 1; i < 20; i++) {
		fe_sq(t3, t3);
	}
	fe_mul(t2, t3, t2);
	fe_sq(t2, t2);
	for (int i = 1; i < 10; i++) {
		fe_sq(t2, t2);
	}
	fe_mul(t1, t2, t1);
	fe_sq(t2, t1);
	for (int i = 1; i < 50; i++) {
		fe_sq(t2, t2);
	}
	fe_mul(t2, t2, t1);
	fe_sq(t3, t2);
	for (int i = 1; i < 100; i++) {
		fe_sq(t3, t3);
	}
	fe_mul(t2, t3, t2);
	fe_sq(t2, t2);
	for (int i = 1; i < 50; i++) {
		fe_sq(t2, t2);
	}
	fe_mul(t1, t2, t1);
	fe_sq(t1, t1);
	for (int i = 1; i < 5; i++) {
		fe_sq(t1, t1);
	}
	fe_mul(out, t1, t0);
}

static void fe_tobytes(uint8_t s[32], const fe h)
{
	fe t;
	fe_copy(t, h);

	int32_t q = (19 * t[9] + (1 << 24)) >> 25;
	q = (t[0] + q) >> 26;
	q = (t[1] + q) >> 25;
	q = (t[2] + q) >> 26;
	q = (t[3] + q) >> 25;
	q = (t[4] + q) >> 26;
	q = (t[5] + q) >> 25;
	q = (t[6] + q) >> 26;
	q = (t[7] + q) >> 25;
	q = (t[8] + q) >> 26;
	t[9] += q << 25;

	int32_t carry0 = (t[0] + (1 << 25)) >> 26;
	t[1] += carry0;
	t[0] -= carry0 << 26;
	int32_t carry1 = (t[1] + (1 << 24)) >> 25;
	t[2] += carry1;
	t[1] -= carry1 << 25;
	int32_t carry2 = (t[2] + (1 << 25)) >> 26;
	t[3] += carry2;
	t[2] -= carry2 << 26;
	int32_t carry3 = (t[3] + (1 << 24)) >> 25;
	t[4] += carry3;
	t[3] -= carry3 << 25;
	int32_t carry4 = (t[4] + (1 << 25)) >> 26;
	t[5] += carry4;
	t[4] -= carry4 << 26;
	int32_t carry5 = (t[5] + (1 << 24)) >> 25;
	t[6] += carry5;
	t[5] -= carry5 << 25;
	int32_t carry6 = (t[6] + (1 << 25)) >> 26;
	t[7] += carry6;
	t[6] -= carry6 << 26;
	int32_t carry7 = (t[7] + (1 << 24)) >> 25;
	t[8] += carry7;
	t[7] -= carry7 << 25;
	int32_t carry8 = (t[8] + (1 << 25)) >> 26;
	t[9] += carry8;
	t[8] -= carry8 << 26;
	int32_t carry9 = (t[9] + (1 << 24)) >> 25;
	t[0] += carry9 * 19;
	t[9] -= carry9 << 25;

	carry0 = (t[0] + (1 << 25)) >> 26;
	t[1] += carry0;
	t[0] -= carry0 << 26;
	carry1 = (t[1] + (1 << 24)) >> 25;
	t[2] += carry1;
	t[1] -= carry1 << 25;

	s[0] = t[0] >> 0;
	s[1] = t[0] >> 8;
	s[2] = t[0] >> 16;
	s[3] = (t[0] >> 24) | (t[1] << 2);
	s[4] = t[1] >> 6;
	s[5] = t[1] >> 14;
	s[6] = (t[1] >> 22) | (t[2] << 3);
	s[7] = t[2] >> 5;
	s[8] = t[2] >> 13;
	s[9] = (t[2] >> 21) | (t[3] << 5);
	s[10] = t[3] >> 3;
	s[11] = t[3] >> 11;
	s[12] = (t[3] >> 19) | (t[4] << 6);
	s[13] = t[4] >> 2;
	s[14] = t[4] >> 10;
	s[15] = t[4] >> 18;
	s[16] = t[5] >> 0;
	s[17] = t[5] >> 8;
	s[18] = t[5] >> 16;
	s[19] = (t[5] >> 24) | (t[6] << 1);
	s[20] = t[6] >> 7;
	s[21] = t[6] >> 15;
	s[22] = (t[6] >> 23) | (t[7] << 3);
	s[23] = t[7] >> 5;
	s[24] = t[7] >> 13;
	s[25] = (t[7] >> 21) | (t[8] << 4);
	s[26] = t[8] >> 4;
	s[27] = t[8] >> 12;
	s[28] = (t[8] >> 20) | (t[9] << 6);
	s[29] = t[9] >> 2;
	s[30] = t[9] >> 10;
	s[31] = t[9] >> 18;
}

static void fe_frombytes(fe h, const uint8_t s[32])
{
	int64_t t0 = s[0] | ((int64_t)s[1] << 8) | ((int64_t)s[2] << 16) | ((int64_t)s[3] << 24);
	int64_t t1 = s[4] | ((int64_t)s[5] << 8) | ((int64_t)s[6] << 16) | ((int64_t)s[7] << 24);
	int64_t t2 = s[8] | ((int64_t)s[9] << 8) | ((int64_t)s[10] << 16) | ((int64_t)s[11] << 24);
	int64_t t3 = s[12] | ((int64_t)s[13] << 8) | ((int64_t)s[14] << 16) | ((int64_t)s[15] << 24);
	int64_t t4 = s[16] | ((int64_t)s[17] << 8) | ((int64_t)s[18] << 16) | ((int64_t)s[19] << 24);
	int64_t t5 = s[20] | ((int64_t)s[21] << 8) | ((int64_t)s[22] << 16) | ((int64_t)s[23] << 24);
	int64_t t6 = s[24] | ((int64_t)s[25] << 8) | ((int64_t)s[26] << 16) | ((int64_t)s[27] << 24);
	int64_t t7 = s[28] | ((int64_t)s[29] << 8) | ((int64_t)s[30] << 16) | ((int64_t)s[31] << 24);

	h[0] = (int32_t)(t0 & 0x3ffffff);
	h[1] = (int32_t)((t0 >> 26) | ((t1 & 0x1fff) << 6));
	h[2] = (int32_t)((t1 >> 19) | ((t2 & 0x3ff) << 13));
	h[3] = (int32_t)((t2 >> 10) | ((t3 & 0x7f) << 22));
	h[4] = (int32_t)((t3 >> 7) & 0x3ffffff);
	h[5] = (int32_t)((t3 >> 33) | ((t4 & 0x1fff) << 6));
	h[6] = (int32_t)((t4 >> 20) | ((t5 & 0x3ff) << 13));
	h[7] = (int32_t)((t5 >> 11) | ((t6 & 0x7f) << 22));
	h[8] = (int32_t)((t6 >> 8) & 0x3ffffff);
	h[9] = (int32_t)((t6 >> 34) | ((t7 & 0x1fff) << 6));
}

static void montgomery_ladder(uint8_t out[32], const uint8_t scalar[32], const uint8_t point[32])
{
	uint8_t e[32];
	memcpy(e, scalar, 32);
	curve25519_ref10_clamp_scalar(e);

	fe x1;
	fe_frombytes(x1, point);
	fe x2;
	fe z2;
	fe x3;
	fe z3;
	fe tmp0;
	fe tmp1;

	fe_1(x2);
	fe_0(z2);
	fe_copy(x3, x1);
	fe_1(z3);

	int swap = 0;
	for (int pos = 254; pos >= 0; pos--) {
		int bit = (e[pos >> 3] >> (pos & 7)) & 1;
		swap ^= bit;
		if (swap) {
			for (int i = 0; i < 10; i++) {
				int32_t t = x2[i];
				x2[i] = x3[i];
				x3[i] = t;
				t = z2[i];
				z2[i] = z3[i];
				z3[i] = t;
			}
		}
		swap = bit;

		fe_add(tmp0, x2, z2);
		fe_sub(tmp1, x2, z2);
		fe_add(z2, x3, z3);
		fe_sub(x3, x3, z3);
		fe_mul(z3, tmp0, x3);
		fe_mul(x3, tmp1, z2);
		fe_sq(tmp0, tmp0);
		fe_sq(tmp1, tmp1);
		fe_add(z2, z3, x3);
		fe_sub(x3, z3, x3);
		fe_sq(z3, x3);
		fe_sub(x2, tmp0, tmp1);
		fe_mul121666(z2, x2);
		fe_add(z2, z2, tmp0);
		fe_mul(x2, tmp0, tmp1);
		fe_mul(z2, z2, x2);
		fe_sq(x3, tmp1);
		fe_mul(z3, z3, x1);
	}

	for (int i = 0; i < 10; i++) {
		int32_t t = x2[i];
		x2[i] = x3[i];
		x3[i] = t;
		t = z2[i];
		z2[i] = z3[i];
		z3[i] = t;
	}

	fe_invert(z2, z2);
	fe_mul(x2, x2, z2);
	fe_tobytes(out, x2);
}

void curve25519_ref10_clamp_scalar(uint8_t scalar[CURVE25519_KEY_SIZE])
{
	scalar[0] &= 248;
	scalar[31] &= 127;
	scalar[31] |= 64;
}

void curve25519_ref10_scalarmult_base(uint8_t out[CURVE25519_KEY_SIZE],
				      const uint8_t scalar[CURVE25519_KEY_SIZE])
{
	static const uint8_t basepoint[32] = {9};
	montgomery_ladder(out, scalar, basepoint);
}

int curve25519_ref10_scalarmult(uint8_t out[CURVE25519_KEY_SIZE],
				const uint8_t scalar[CURVE25519_KEY_SIZE],
				const uint8_t point[CURVE25519_KEY_SIZE])
{
	uint8_t tmp[32];
	memcpy(tmp, point, 32);
	montgomery_ladder(out, scalar, tmp);
	return 0;
}
```

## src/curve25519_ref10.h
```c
#ifndef CURVE25519_REF10_H
#define CURVE25519_REF10_H

#include <stdint.h>

#define CURVE25519_KEY_SIZE 32

void curve25519_ref10_clamp_scalar(uint8_t scalar[CURVE25519_KEY_SIZE]);
void curve25519_ref10_scalarmult_base(uint8_t out[CURVE25519_KEY_SIZE],
				      const uint8_t scalar[CURVE25519_KEY_SIZE]);
int curve25519_ref10_scalarmult(uint8_t out[CURVE25519_KEY_SIZE],
				const uint8_t scalar[CURVE25519_KEY_SIZE],
				const uint8_t point[CURVE25519_KEY_SIZE]);

#endif /* CURVE25519_REF10_H */
```

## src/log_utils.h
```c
#ifndef LOG_UTILS_H
#define LOG_UTILS_H

#include <zephyr/logging/log.h>

/* Compact structured logging helpers.
 * Format: EVT,<tag>,<status>[,<kv pairs...>]
 */
#define LOG_EVT_SIMPLE(level, tag, status) \
	LOG_##level("EVT,%s,%s", tag, status)

#define LOG_EVT(level, tag, status, fmt, ...) \
	LOG_##level("EVT,%s,%s," fmt, tag, status, ##__VA_ARGS__)

#endif /* LOG_UTILS_H */
```

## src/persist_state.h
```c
#ifndef PERSIST_STATE_H
#define PERSIST_STATE_H

#include <stdbool.h>
#include <stdint.h>

#include "curve25519_ref10.h"

int persist_state_init(void);
void persist_state_record_boot(bool watchdog_reset);
void persist_state_clear_watchdog_counter(void);

uint32_t persist_state_get_consecutive_watchdog(void);
uint32_t persist_state_get_total_watchdog(void);
bool persist_state_is_fallback_active(void);

uint32_t persist_state_get_watchdog_override(void);
int persist_state_set_watchdog_override(uint32_t timeout_ms);

int persist_state_curve25519_get_secret(uint8_t out[CURVE25519_KEY_SIZE]);
int persist_state_curve25519_set_secret(const uint8_t secret[CURVE25519_KEY_SIZE]);
int persist_state_curve25519_get_peer(uint8_t out[CURVE25519_KEY_SIZE]);
int persist_state_curve25519_set_peer(const uint8_t peer[CURVE25519_KEY_SIZE]);
uint32_t persist_state_next_session_counter(void);

#if defined(CONFIG_ZTEST)
void persist_state_test_reset(void);
void persist_state_test_reload(void);
#endif

#endif /* PERSIST_STATE_H */
```

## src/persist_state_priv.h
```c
#ifndef PERSIST_STATE_PRIV_H
#define PERSIST_STATE_PRIV_H

#include <stdint.h>

#include <zephyr/sys/util.h>

#include "app_crypto.h"

struct persist_blob {
	uint32_t magic;
	uint32_t consecutive_watchdog;
	uint32_t total_watchdog;
	uint32_t watchdog_override_ms;
	uint32_t session_counter;
};

#if IS_ENABLED(CONFIG_APP_USE_AES_ENCRYPTION)
struct persist_blob_encrypted {
	uint8_t iv[APP_CRYPTO_IV_LEN];
	uint8_t data[sizeof(struct persist_blob)];
};
#endif

#endif /* PERSIST_STATE_PRIV_H */
```

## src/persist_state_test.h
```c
#ifndef PERSIST_STATE_TEST_H
#define PERSIST_STATE_TEST_H

#include <zephyr/kernel.h>

#include "persist_state_priv.h"

#if defined(CONFIG_ZTEST)
void persist_state_test_init_blob(struct persist_blob *blob,
				  uint32_t consecutive_watchdog,
				  uint32_t total_watchdog,
				  uint32_t override_ms);

#if IS_ENABLED(CONFIG_APP_USE_AES_ENCRYPTION)
int persist_state_test_encrypt_blob(const struct persist_blob *blob,
				    struct persist_blob_encrypted *storage,
				    size_t *cipher_len);
int persist_state_test_decrypt_blob(const struct persist_blob_encrypted *storage,
				    struct persist_blob *blob);
#endif

void persist_state_test_copy_plain(struct persist_blob *dst,
				   const struct persist_blob *src);
#endif /* CONFIG_ZTEST */

#endif /* PERSIST_STATE_TEST_H */
```

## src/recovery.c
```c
#include <zephyr/kernel.h>
#include <zephyr/logging/log.h>
#include <zephyr/sys/reboot.h>
#include <zephyr/sys/util.h>
#include <zephyr/sys/atomic.h>
#include <limits.h>

#include "log_utils.h"
#include "recovery.h"
#if defined(CONFIG_ZTEST)
#include "recovery_test.h"
#endif

LOG_MODULE_REGISTER(recovery, LOG_LEVEL_INF);

/* Event used to signal recovery actions */
static struct k_event recovery_event;
#if defined(CONFIG_ZTEST)
static atomic_t recovery_test_events = ATOMIC_INIT(0);
#endif

K_THREAD_STACK_DEFINE(recovery_stack, CONFIG_APP_RECOVERY_THREAD_STACK_SIZE);
static struct k_thread recovery_tid;

static K_MUTEX_DEFINE(safe_mode_lock);
static const int64_t SAFE_MODE_DEADLINE_INACTIVE = INT64_MIN;
static int64_t safe_mode_deadline = SAFE_MODE_DEADLINE_INACTIVE;
static uint32_t safe_mode_delay_ms;

static const char *recovery_reason_to_str(enum recovery_reason reason)
{
	switch (reason) {
	case RECOVERY_REASON_HEALTH_FAULT:
		return "persistent health fault";
	case RECOVERY_REASON_MANUAL_TRIGGER:
		return "manual recovery request";
	case RECOVERY_REASON_SAFE_MODE_TIMEOUT:
		return "safe-mode timeout";
	case RECOVERY_REASON_WATCHDOG_INIT_FAIL:
		return "watchdog init failure";
	default:
		return "unknown";
	}
}

void recovery_request(enum recovery_reason reason)
{
	if (reason < 0 || reason >= RECOVERY_REASON_COUNT) {
		LOG_WRN("Ignoring recovery request with invalid reason %d", reason);
		return;
	}

	LOG_EVT(WRN, "RECOVERY", "QUEUED", "reason=%d(%s)", reason,
		recovery_reason_to_str(reason));
	k_event_post(&recovery_event, BIT(reason));
#if defined(CONFIG_ZTEST)
	atomic_or(&recovery_test_events, BIT(reason));
#endif
}

static void handle_safe_mode_reboot(void)
{
	LOG_EVT_SIMPLE(WRN, "RECOVERY", "SAFE_MODE_TIMEOUT");
	LOG_EVT(WRN, "RECOVERY", "SAFE_MODE_REBOOT",
		"delay_ms=%u", safe_mode_delay_ms);
	sys_reboot(SYS_REBOOT_WARM);
}

static void recovery_thread(void *p1, void *p2, void *p3)
{
	ARG_UNUSED(p1); ARG_UNUSED(p2); ARG_UNUSED(p3);
	k_thread_name_set(k_current_get(), "recovery");

	while (1) {
		k_timeout_t wait = K_FOREVER;
		bool deadline_pending = false;

		k_mutex_lock(&safe_mode_lock, K_FOREVER);

			if (safe_mode_deadline != SAFE_MODE_DEADLINE_INACTIVE) {
			int64_t now = k_uptime_get();
			int64_t delta = safe_mode_deadline - now;

			if (delta <= 0) {
				safe_mode_deadline = SAFE_MODE_DEADLINE_INACTIVE;
				k_mutex_unlock(&safe_mode_lock);
				handle_safe_mode_reboot();
				continue;
			}

			if (delta > (int64_t)INT32_MAX) {
				delta = (int64_t)INT32_MAX;
			}

			wait = K_MSEC((uint32_t)delta);
			deadline_pending = true;
		}

		k_mutex_unlock(&safe_mode_lock);

		uint32_t events = k_event_wait(&recovery_event,
					       BIT_MASK(RECOVERY_REASON_COUNT),
					       true, wait);

		if (events == 0U) {
			/* timeout expired */
			if (deadline_pending) {
				continue;
			}
			/* No pending deadline; spurious timeout */
			continue;
		}

		if (events & BIT(RECOVERY_REASON_HEALTH_FAULT)) {
			LOG_EVT_SIMPLE(ERR, "RECOVERY", "HEALTH_FAULT");
			k_msleep(200);
			sys_reboot(SYS_REBOOT_WARM);
		}

		if (events & BIT(RECOVERY_REASON_MANUAL_TRIGGER)) {
			LOG_EVT_SIMPLE(WRN, "RECOVERY", "MANUAL_TRIGGER");
			k_msleep(200);
			sys_reboot(SYS_REBOOT_WARM);
		}

		if (events & BIT(RECOVERY_REASON_SAFE_MODE_TIMEOUT)) {
			k_mutex_lock(&safe_mode_lock, K_FOREVER);
			safe_mode_deadline = SAFE_MODE_DEADLINE_INACTIVE;
			k_mutex_unlock(&safe_mode_lock);
			handle_safe_mode_reboot();
		}

		if (events & BIT(RECOVERY_REASON_WATCHDOG_INIT_FAIL)) {
			LOG_EVT_SIMPLE(ERR, "RECOVERY", "WATCHDOG_INIT_REBOOT");
			k_msleep(200);
			sys_reboot(SYS_REBOOT_WARM);
		}
	}
}

void recovery_start(void)
{
	k_event_init(&recovery_event);
	k_thread_create(&recovery_tid, recovery_stack,
			K_THREAD_STACK_SIZEOF(recovery_stack),
			recovery_thread, NULL, NULL, NULL,
			5, 0, K_NO_WAIT);
}

void recovery_schedule_safe_mode_reboot(uint32_t delay_ms)
{
	k_mutex_lock(&safe_mode_lock, K_FOREVER);

	if (delay_ms == 0U) {
		bool was_scheduled = (safe_mode_deadline != SAFE_MODE_DEADLINE_INACTIVE);

		safe_mode_deadline = SAFE_MODE_DEADLINE_INACTIVE;
		safe_mode_delay_ms = 0U;
		k_mutex_unlock(&safe_mode_lock);

		if (was_scheduled) {
			LOG_EVT_SIMPLE(INF, "RECOVERY", "SAFE_MODE_REBOOT_CANCELLED");
			k_wakeup(&recovery_tid);
		}
		return;
	}

	safe_mode_deadline = k_uptime_get() + (int64_t)delay_ms;
	safe_mode_delay_ms = delay_ms;
	k_mutex_unlock(&safe_mode_lock);

	LOG_EVT(INF, "RECOVERY", "SAFE_MODE_REBOOT_SCHEDULED",
		"delay_ms=%u", delay_ms);
	k_wakeup(&recovery_tid);
}

#if defined(CONFIG_ZTEST)
void recovery_test_init_event(void)
{
	k_event_init(&recovery_event);
	atomic_set(&recovery_test_events, 0);
}

uint32_t recovery_test_get_pending_events(void)
{
	return (uint32_t)atomic_get(&recovery_test_events);
}

void recovery_test_clear_pending_events(void)
{
	atomic_set(&recovery_test_events, 0);
}
#endif
```

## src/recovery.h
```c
#ifndef RECOVERY_H
#define RECOVERY_H

#include <zephyr/kernel.h>

enum recovery_reason {
	RECOVERY_REASON_HEALTH_FAULT = 0,
	RECOVERY_REASON_MANUAL_TRIGGER,
	RECOVERY_REASON_SAFE_MODE_TIMEOUT,
	RECOVERY_REASON_WATCHDOG_INIT_FAIL,
	RECOVERY_REASON_COUNT
};

void recovery_start(void);
void recovery_request(enum recovery_reason reason);
void recovery_schedule_safe_mode_reboot(uint32_t delay_ms);

#endif /* RECOVERY_H */
```

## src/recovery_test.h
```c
#ifndef RECOVERY_TEST_H
#define RECOVERY_TEST_H

#include <stdint.h>

#if defined(CONFIG_ZTEST)
void recovery_test_init_event(void);
uint32_t recovery_test_get_pending_events(void);
void recovery_test_clear_pending_events(void);
#endif

#endif /* RECOVERY_TEST_H */
```
